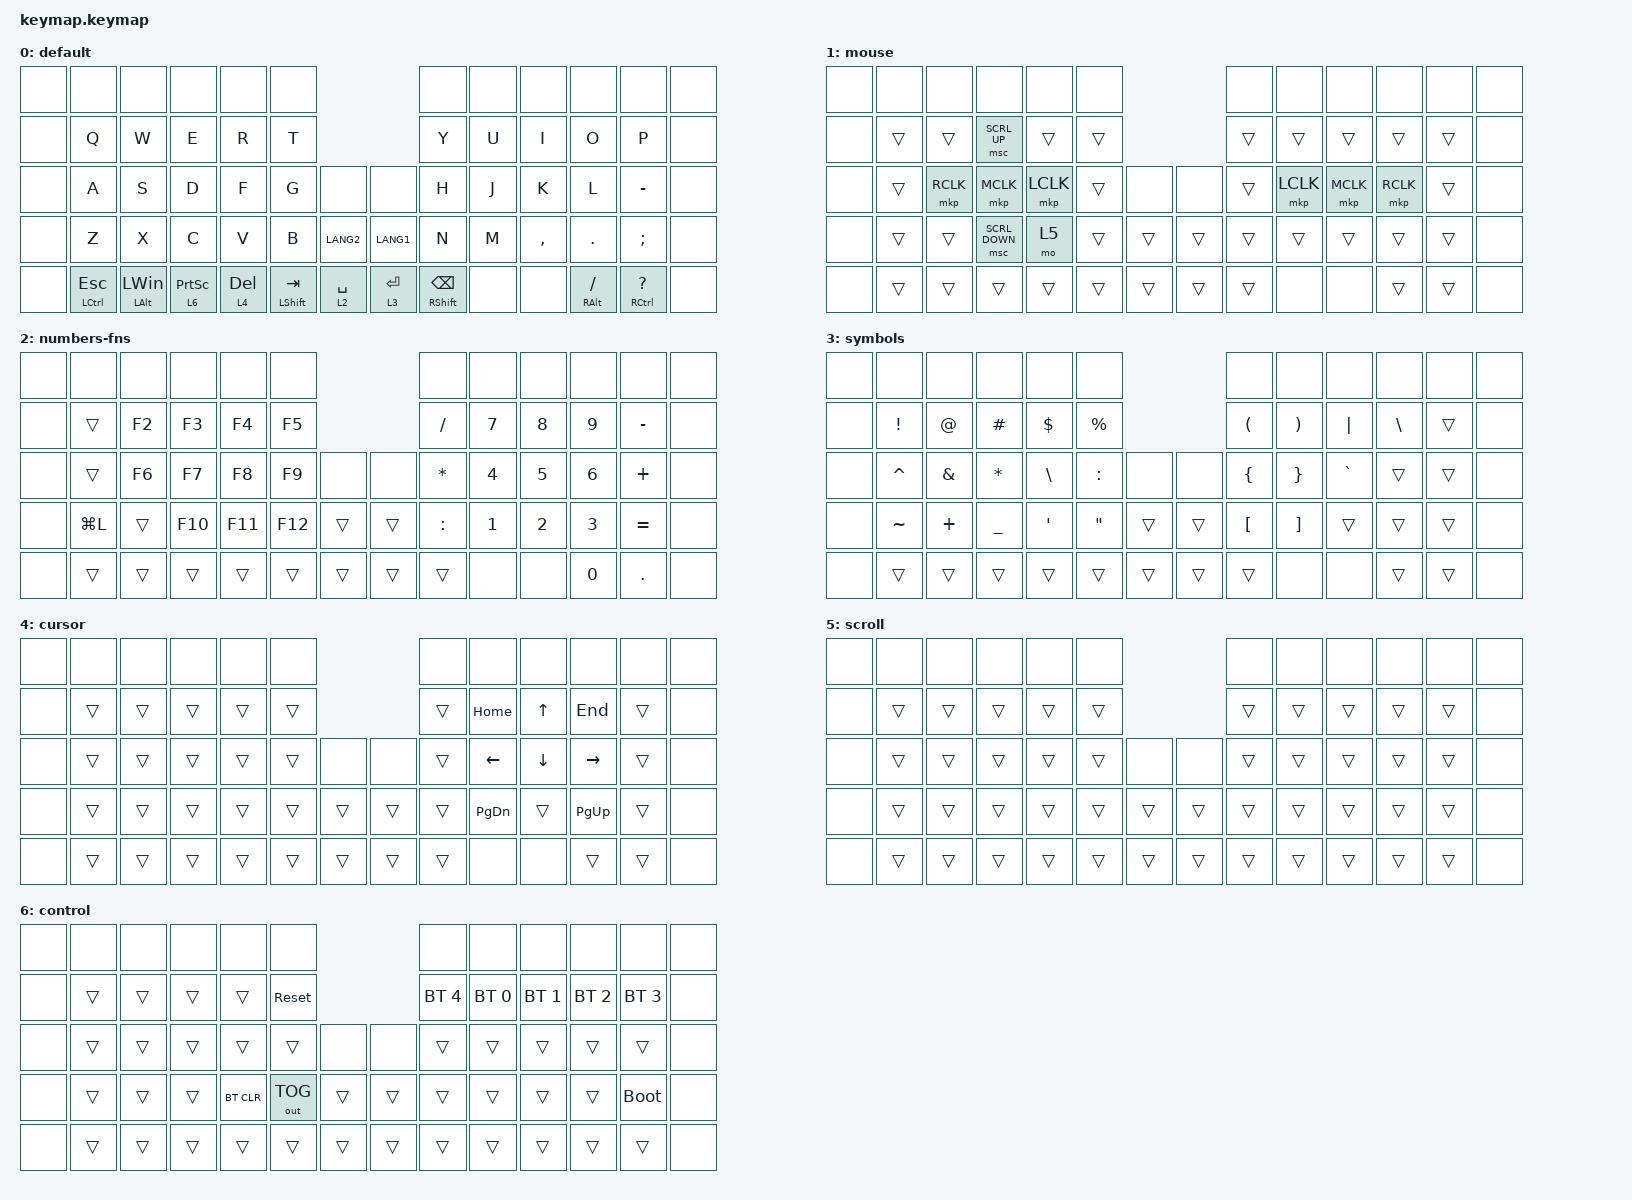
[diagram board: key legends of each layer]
#include <behaviors.dtsi>
#include <dt-bindings/zmk/bt.h>
#include <dt-bindings/zmk/keys.h>
#include <dt-bindings/zmk/outputs.h>
#include <dt-bindings/zmk/pointing.h>

/ {
    combos {
        compatible = "zmk,combos";

        bt_clear {
            bindings = <&bt BT_CLR>;
            key-positions = <28 29>;
            layers = <3>;
        };
    };

    keymap {
        compatible = "zmk,keymap";

        default {
            bindings = <
&none  &none             &none                  &none              &none         &none                                     &none                 &none  &none      &none                &none            &none
&none  &kp Q             &kp W                  &kp E              &kp R         &kp T                                     &kp Y                 &kp U  &kp I      &kp O                &kp P            &none
&none  &kp A             &kp S                  &kp D              &kp F         &kp G           &none        &none        &kp H                 &kp J  &kp K      &kp L                &kp MINUS        &none
&none  &kp Z             &kp X                  &kp C              &kp V         &kp B           &kp LANG2    &kp LANG1    &kp N                 &kp M  &kp COMMA  &kp DOT              &kp SEMI         &none
&none  &mt LCTRL ESCAPE  &mt LEFT_ALT LEFT_WIN  &lt 6 PRINTSCREEN  &lt 4 DELETE  &mt LSHIFT TAB  &lt 2 SPACE  &lt 3 ENTER  &mt RSHIFT BACKSPACE  &none  &none      &mt RIGHT_ALT SLASH  &mt RCTRL QMARK  &none
            >;
        };

        mouse {
            bindings = <
&none  &none   &none      &none           &none      &none                   &none   &none      &none      &none      &none   &none
&none  &trans  &trans     &msc SCRL_UP    &trans     &trans                  &trans  &trans     &trans     &trans     &trans  &none
&none  &trans  &mkp RCLK  &mkp MCLK       &mkp LCLK  &trans  &none   &none   &trans  &mkp LCLK  &mkp MCLK  &mkp RCLK  &trans  &none
&none  &trans  &trans     &msc SCRL_DOWN  &mo 5      &trans  &trans  &trans  &trans  &trans     &trans     &trans     &trans  &none
&none  &trans  &trans     &trans          &trans     &trans  &trans  &trans  &trans  &none      &none      &trans     &trans  &none
            >;
        };

        numbers-fns {
            bindings = <
&none  &none      &none   &none    &none    &none                    &none         &none   &none   &none   &none      &none
&none  &trans     &kp F2  &kp F3   &kp F4   &kp F5                   &kp SLASH     &kp N7  &kp N8  &kp N9  &kp MINUS  &none
&none  &trans     &kp F6  &kp F7   &kp F8   &kp F9   &none   &none   &kp ASTERISK  &kp N4  &kp N5  &kp N6  &kp PLUS   &none
&none  &kp LG(L)  &trans  &kp F10  &kp F11  &kp F12  &trans  &trans  &kp COLON     &kp N1  &kp N2  &kp N3  &kp EQUAL  &none
&none  &trans     &trans  &trans   &trans   &trans   &trans  &trans  &trans        &none   &none   &kp N0  &kp DOT    &none
            >;
        };

        symbols {
            bindings = <
&none  &none      &none     &none         &none             &none                              &none     &none     &none      &none          &none   &none
&none  &kp EXCL   &kp AT    &kp HASH      &kp DOLLAR        &kp PERCENT                        &kp LPAR  &kp RPAR  &kp PIPE   &kp BACKSLASH  &trans  &none
&none  &kp CARET  &kp AMPS  &kp ASTERISK  &kp BACKSLASH     &kp COLON          &none   &none   &kp LBRC  &kp RBRC  &kp GRAVE  &trans         &trans  &none
&none  &kp TILDE  &kp PLUS  &kp UNDER     &kp SINGLE_QUOTE  &kp DOUBLE_QUOTES  &trans  &trans  &kp LBKT  &kp RBKT  &trans     &trans         &trans  &none
&none  &trans     &trans    &trans        &trans            &trans             &trans  &trans  &trans    &none     &none      &trans         &trans  &none
            >;
        };

        cursor {
            bindings = <
&none  &none   &none   &none   &none   &none                   &none   &none           &none           &none            &none   &none
&none  &trans  &trans  &trans  &trans  &trans                  &trans  &kp HOME        &kp UP_ARROW    &kp END          &trans  &none
&none  &trans  &trans  &trans  &trans  &trans  &none   &none   &trans  &kp LEFT_ARROW  &kp DOWN_ARROW  &kp RIGHT_ARROW  &trans  &none
&none  &trans  &trans  &trans  &trans  &trans  &trans  &trans  &trans  &kp PG_DN       &trans          &kp PG_UP        &trans  &none
&none  &trans  &trans  &trans  &trans  &trans  &trans  &trans  &trans  &none           &none           &trans           &trans  &none
            >;
        };

        scroll {
            bindings = <
&none  &none   &none   &none   &none   &none                   &none   &none   &none   &none   &none   &none
&none  &trans  &trans  &trans  &trans  &trans                  &trans  &trans  &trans  &trans  &trans  &none
&none  &trans  &trans  &trans  &trans  &trans  &none   &none   &trans  &trans  &trans  &trans  &trans  &none
&none  &trans  &trans  &trans  &trans  &trans  &trans  &trans  &trans  &trans  &trans  &trans  &trans  &none
&none  &trans  &trans  &trans  &trans  &trans  &trans  &trans  &trans  &trans  &trans  &trans  &trans  &none
            >;
        };

        control {
            bindings = <
&none  &none   &none   &none   &none       &none                         &none         &none         &none         &none         &none         &none
&none  &trans  &trans  &trans  &trans      &sys_reset                    &bt BT_SEL 4  &bt BT_SEL 0  &bt BT_SEL 1  &bt BT_SEL 2  &bt BT_SEL 3  &none
&none  &trans  &trans  &trans  &trans      &trans        &none   &none   &trans        &trans        &trans        &trans        &trans        &none
&none  &trans  &trans  &trans  &bt BT_CLR  &out OUT_TOG  &trans  &trans  &trans        &trans        &trans        &trans        &bootloader   &none
&none  &trans  &trans  &trans  &trans      &trans        &trans  &trans  &trans        &trans        &trans        &trans        &trans        &none
            >;
        };
    };
};
